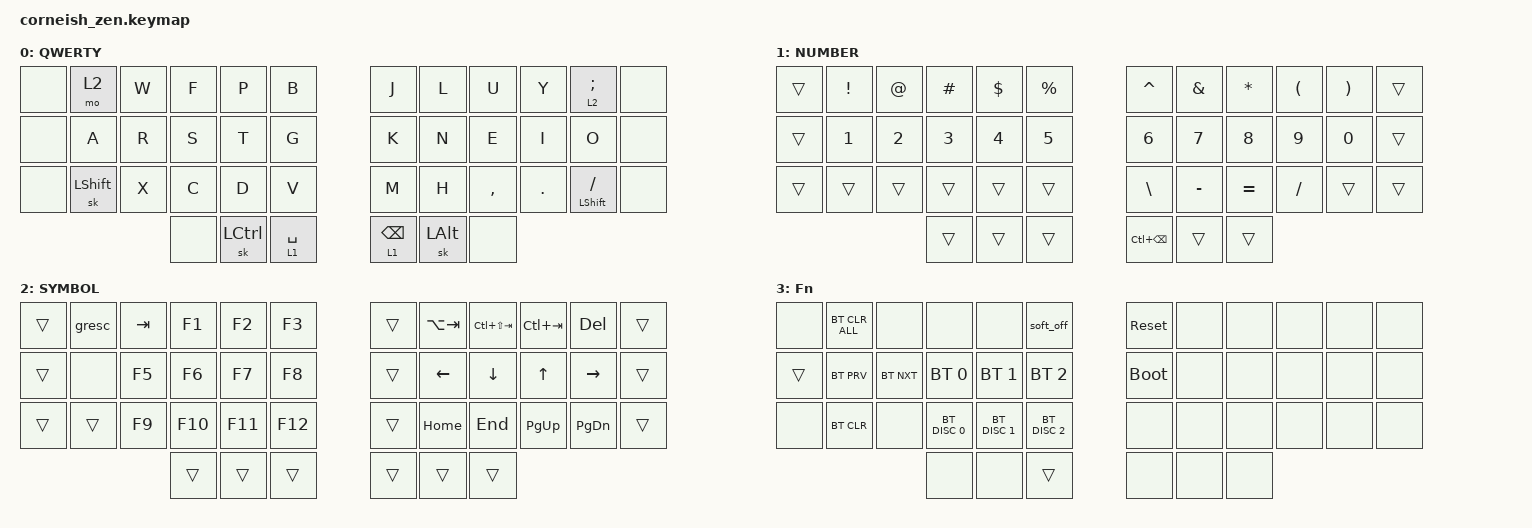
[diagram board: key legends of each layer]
/*
 * Copyright (c) 2020 The ZMK Contributors
 *
 * SPDX-License-Identifier: MIT
 */

#include <behaviors.dtsi>
#include <dt-bindings/zmk/bt.h>
#include <dt-bindings/zmk/keys.h>

/ {
    chosen {
        zmk,matrix_transform = &default_transform;

        // zmk,matrix_transform = &five_column_transform;
    };
};

/ {
    behaviors {
        td0: td0 {
            compatible = "zmk,behavior-tap-dance";
            label = "TD0";
            #binding-cells = <0>;
            bindings = <&kp LEFT_SHIFT>, <&kp CAPS>;
        };
    };

    combos {
        compatible = "zmk,combos";

        Alpha_Q {
            bindings = <&kp Q>;
            key-positions = <2 3>;
            layers = <0>;
        };

        Alpha_Z {
            bindings = <&kp Z>;
            key-positions = <26 27>;
            layers = <0>;
        };

        Alpha_Quote {
            bindings = <&kp SINGLE_QUOTE>;
            key-positions = <21 22>;
            layers = <0>;
        };

        Alpha_LBracket {
            bindings = <&kp LEFT_BRACKET>;
            key-positions = <20 21>;
            layers = <1>;
        };

        Alpha_RBracket {
            bindings = <&kp RIGHT_BRACKET>;
            key-positions = <21 22>;
            layers = <1>;
        };

        Mod_Enter {
            bindings = <&kp ENTER>;
            key-positions = <16 19>;
        };

        OneShotLayer_BT {
            bindings = <&sl 3>;
            key-positions = <36 41>;
        };
    };

    keymap {
        compatible = "zmk,keymap";

        default_layer {
            display-name = "QWERTY";

            // --------------------------------------------------------------------------------
            // |  TAB |  Q  |  W  |  E  |  R  |  T  |   |  Y  |  U   |  I  |  O  |  P  | BKSP |
            // | CTRL |  A  |  S  |  D  |  F  |  G  |   |  H  |  J   |  K  |  L  |  ;  |  '   | 
            // | SHFT |  Z  |  X  |  C  |  V  |  B  |   |  N  |  M   |  ,  |  .  |  /  | ESC  |
            //                    | GUI | LWR | SPC |   | ENT | RSE  | ALT |

            bindings = <
&none  &mo 2           &kp W  &kp F  &kp P             &kp B          &kp J            &kp L         &kp U      &kp Y    &lt 2 SEMICOLON       &none
&none  &kp A           &kp R  &kp S  &kp T             &kp G          &kp K            &kp N         &kp E      &kp I    &kp O                 &none
&none  &sk LEFT_SHIFT  &kp X  &kp C  &kp D             &kp V          &kp M            &kp H         &kp COMMA  &kp DOT  &mt LEFT_SHIFT SLASH  &none
                              &none  &sk LEFT_CONTROL  &lt 1 SPACE    &lt 1 BACKSPACE  &sk LEFT_ALT  &none
            >;
        };

        lower_layer {
            display-name = "NUMBER";

            // -----------------------------------------------------------------------------------------
            // |  TAB |  1  |  2  |  3  |  4  |  5  |   |  6  |  7  |  8  |  9  |  0  | BKSP |
            // | BTCLR| BT1 | BT2 | BT3 | BT4 | BT5 |   | LFT | DWN |  UP | RGT |     |      |
            // | SHFT |     |     |     |     |     |   |     |     |     |     |     |      |
            //                    | GUI |     | SPC |   | ENT |     | ALT |

            bindings = <
&trans  &kp EXCLAMATION  &kp AT        &kp POUND     &kp DOLLAR    &kp PERCENT    &kp CARET          &kp AMPERSAND  &kp ASTERISK  &kp LEFT_PARENTHESIS  &kp RIGHT_PARENTHESIS  &trans
&trans  &kp NUMBER_1     &kp NUMBER_2  &kp NUMBER_3  &kp NUMBER_4  &kp N5         &kp NUMBER_6       &kp N7         &kp N8        &kp N9                &kp N0                 &trans
&trans  &trans           &trans        &trans        &trans        &trans         &kp BACKSLASH      &kp MINUS      &kp EQUAL     &kp SLASH             &trans                 &trans
                                       &trans        &trans        &trans         &kp LC(BACKSPACE)  &trans         &trans
            >;
        };

        raise_layer {
            display-name = "SYMBOL";

            // -----------------------------------------------------------------------------------------
            // |  TAB |  !  |  @  |  #  |  $  |  %  |   |  ^  |  &  |  *  |  (  |  )  | BKSP |
            // | CTRL |     |     |     |     |     |   |  -  |  =  |  [  |  ]  |  \  |  `   |
            // | SHFT |     |     |     |     |     |   |  _  |  +  |  {  |  }  | "|" |  ~   |
            //                    | GUI |     | SPC |   | ENT |     | ALT |

            bindings = <
&trans  &gresc  &kp TAB  &kp F1   &kp F2   &kp F3     &trans  &kp LA(TAB)     &kp LC(LS(TAB))  &kp LC(TAB)   &kp DELETE       &trans
&trans  &none   &kp F5   &kp F6   &kp F7   &kp F8     &trans  &kp LEFT_ARROW  &kp DOWN_ARROW   &kp UP_ARROW  &kp RIGHT_ARROW  &trans
&trans  &trans  &kp F9   &kp F10  &kp F11  &kp F12    &trans  &kp HOME        &kp END          &kp PAGE_UP   &kp PAGE_DOWN    &trans
                         &trans   &trans   &trans     &trans  &trans          &trans
            >;
        };

        layer_3 {
            display-name = "Fn";
            bindings = <
&none   &bt BT_CLR_ALL  &none       &none          &none          &soft_off        &sys_reset   &none  &none  &none  &none  &none
&trans  &bt BT_PRV      &bt BT_NXT  &bt BT_SEL 0   &bt BT_SEL 1   &bt BT_SEL 2     &bootloader  &none  &none  &none  &none  &none
&none   &bt BT_CLR      &none       &bt BT_DISC 0  &bt BT_DISC 1  &bt BT_DISC 2    &none        &none  &none  &none  &none  &none
                                    &none          &none          &trans           &none        &none  &none
            >;
        };
    };
};
